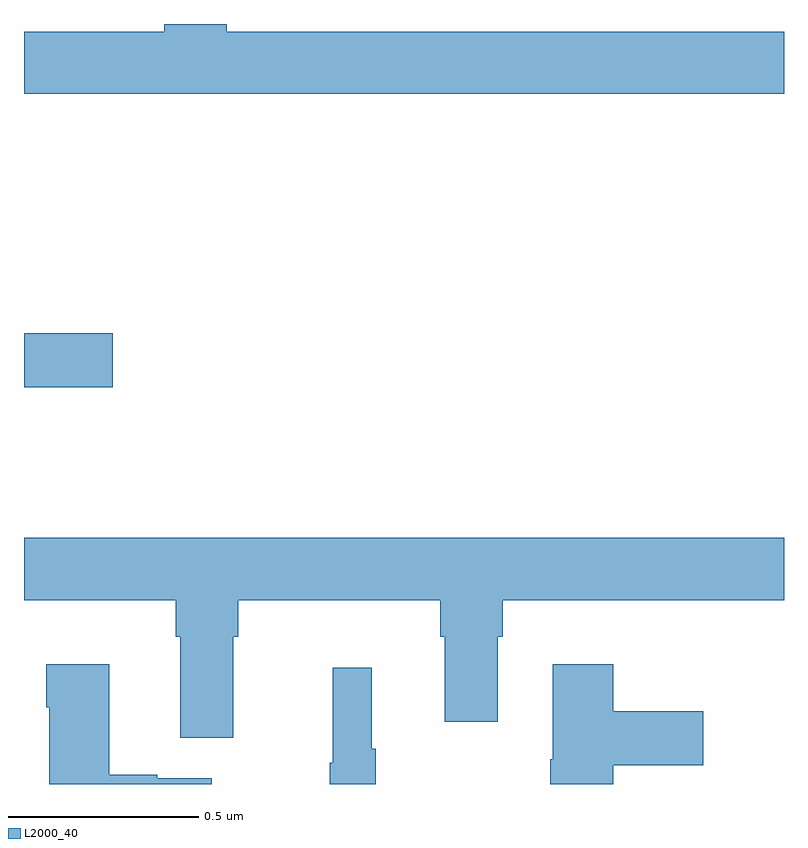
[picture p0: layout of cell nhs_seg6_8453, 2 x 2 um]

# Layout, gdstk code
import gdstk
lib = gdstk.Library(unit=1e-6, precision=1e-09)
def R(c, l, rs):  # rectangles x0, y0, x1, y1
    for r in rs: c.add(gdstk.rectangle(r[:2], r[2:], *l))
def P(c, l, *ps):  # polygons
    for p in ps: c.add(gdstk.Polygon(p, *l))
L2000_40 = (2000, 40)

nhs_seg6_8453 = lib.new_cell('nhs_seg6_8453')
R(nhs_seg6_8453, L2000_40, [(221,966.544,221.233,966.686)])
P(nhs_seg6_8453, L2000_40, [(223,967.48),(221.534,967.48),(221.534,967.5),(221.369,967.5),(221.369,967.48),(221,967.48),(221,967.316),(223,967.316)],
  [(221.551,965.888),(221.564,965.888),(221.564,965.984),(222.095,965.984),(222.095,965.888),(222.107,965.888),(222.107,965.664),(222.247,965.664),(222.247,965.888),(222.26,965.888),(222.26,965.984),(223,965.984),(223,966.148),(221,966.148),(221,965.984),(221.399,965.984),(221.399,965.888),(221.411,965.888),(221.411,965.622),(221.551,965.622)],
  [(222.551,965.549),(222.787,965.549),(222.787,965.691),(222.551,965.691),(222.551,965.815),(222.392,965.815),(222.392,965.565),(222.385,965.565),(222.385,965.5),(222.551,965.5)],
  [(221.494,965.515),(221.351,965.515),(221.351,965.525),(221.224,965.525),(221.224,965.815),(221.059,965.815),(221.059,965.702),(221.066,965.702),(221.066,965.5),(221.494,965.5)],
  [(221.926,965.593),(221.915,965.593),(221.915,965.806),(221.812,965.806),(221.812,965.556),(221.805,965.556),(221.805,965.5),(221.926,965.5)])

lib.write_gds('nhs_seg6_8453.gds')
